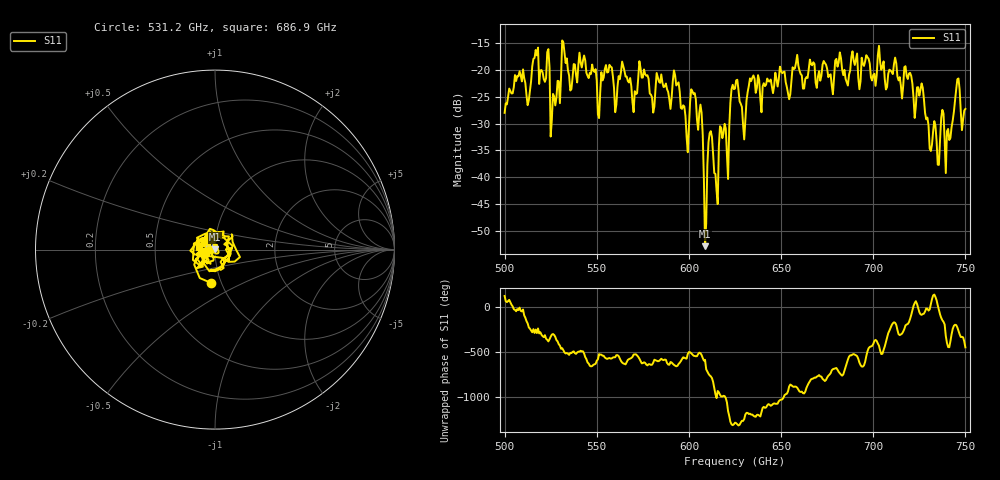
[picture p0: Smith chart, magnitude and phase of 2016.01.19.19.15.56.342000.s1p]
!Created with skrf (http://scikit-rf.org).
# GHz S RI R 50.0
!freq ReS11 ImS11
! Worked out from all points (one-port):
!   401 points, 500 GHz to 750 GHz, reference 50 ohm
!   lowest |S11| = -52.8 dB at 608.8 GHz (marker M1), VSWR 1.00, Z = 49.8 + j0.165 ohm
!   |S11| at or under -10 dB: start of sweep to end of sweep
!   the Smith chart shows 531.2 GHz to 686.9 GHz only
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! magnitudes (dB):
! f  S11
! 500 GHz  -28.0
! 506.9 GHz  -21.1
! 513.1 GHz  -25.7
! 516.9 GHz  -16.3
! 523.1 GHz  -16.7
! 526.2 GHz  -24.5
! 531.2 GHz  -14.5
! 551.2 GHz  -29.0
! 562.5 GHz  -21.8
! 570.6 GHz  -24.0
! 574.4 GHz  -21.5
! 593.8 GHz  -22.6
! 598.8 GHz  -32.5
! 601.9 GHz  -24.0
! 606.2 GHz  -26.5
! 608.8 GHz  -52.8
! 611.2 GHz  -31.8
! 615 GHz  -42.5
! 625 GHz  -23.5
! 629.4 GHz  -30.2
! 634.4 GHz  -21.5
! 656.2 GHz  -19.5
! 687.5 GHz  -20.1
! 718.8 GHz  -21.7
! 735 GHz  -37.7
! 740.6 GHz  -31.0
! 745.6 GHz  -21.8
! 750 GHz  -27.3
